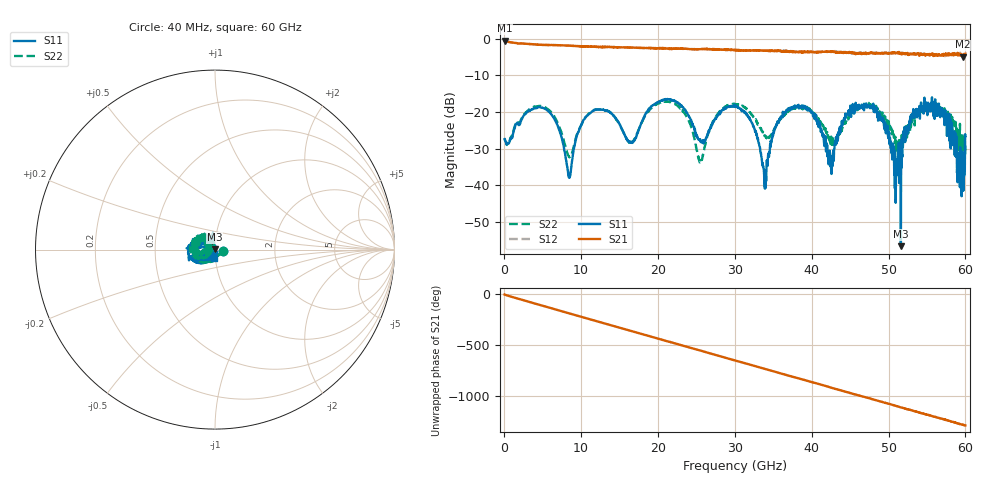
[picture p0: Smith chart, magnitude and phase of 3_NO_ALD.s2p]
! File created by 'SoftPlot +Plus+ Measurement Management Software'
! SoftPlot +Plus+ Measurement Management Software
! Start 40.000000 MHz  Stop 60.000000 GHz  Points 1601
# MHZ S RI R 50
! S-Parameter data, F S11 S21 S12 S22
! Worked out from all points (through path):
!   1601 points, 40 MHz to 60 GHz, reference 50 ohm
!   highest |S21| = -0.43 dB at 40 MHz (marker M1); lowest = -4.8 dB at 59.66 GHz (marker M2)
!   group delay of S21, straight-line fit = 59.4 ps
!   lowest |S11| = -56.7 dB at 51.61 GHz (marker M3), VSWR 1.00, Z = 49.9 + j0.115 ohm
!   |S11| at or under -10 dB: start of sweep to end of sweep
!   |S22| runs from -34.6 to -17.1 dB; largest |S21 - S12| = 0.058
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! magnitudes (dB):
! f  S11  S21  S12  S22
! 40 MHz  -27.4  -0.4  -0.4  -27.2
! 5.212 GHz  -19.0  -1.6  -1.6  -18.6
! 8.472 GHz  -37.8  -1.8  -1.8  -32.4
! 10.05 GHz  -23.3  -2.1  -2.0  -23.5
! 13.42 GHz  -19.7  -2.2  -2.2  -19.7
! 16.6 GHz  -28.3  -2.3  -2.4  -28.3
! 20.05 GHz  -17.3  -2.6  -2.5  -17.6
! 23.35 GHz  -19.0  -2.7  -2.7  -20.1
! 25.52 GHz  -27.8  -2.8  -2.7  -33.9
! 30.02 GHz  -18.3  -3.0  -3.0  -17.8
! 32.46 GHz  -24.0  -3.2  -3.2  -21.5
! 33.84 GHz  -39.6  -3.2  -3.1  -26.4
! 36.13 GHz  -21.0  -3.4  -3.3  -21.7
! 40.03 GHz  -20.3  -3.5  -3.5  -20.0
! 42.42 GHz  -34.8  -3.5  -3.4  -28.3
! 45.65 GHz  -19.8  -4.0  -3.9  -19.6
! 50.03 GHz  -27.3  -3.9  -3.9  -22.2
! 51.61 GHz  -56.7  -3.8  -3.9  -29.4
! 52.99 GHz  -21.0  -4.1  -3.9  -23.2
! 55.43 GHz  -19.9  -4.4  -4.4  -18.3
! 59.66 GHz  -31.5  -4.8  -4.3  -28.6
! 60 GHz  -26.6  -4.0  -4.5  -28.6
